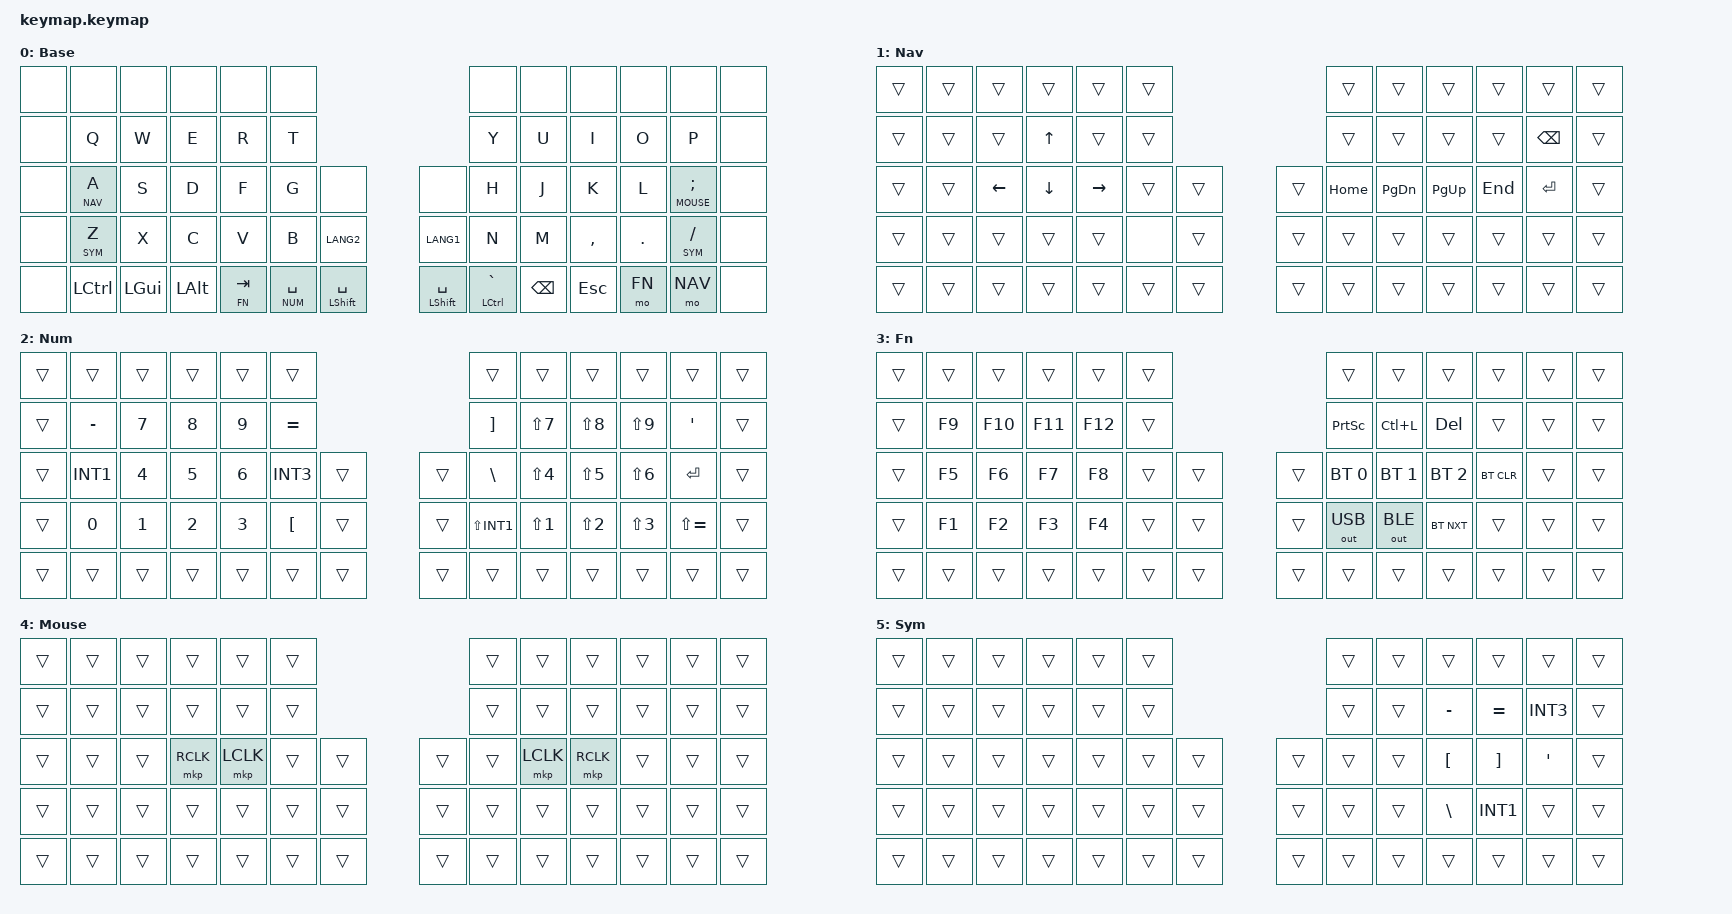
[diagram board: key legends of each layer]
/*
 * torabo-tsuki LP (S size) keymap - ported from Keychron B1 Pro JIS (Launcher export 22-17-51)
 *
 * - The firmware's default physical layout is "L" (66 positions), so bindings are written
 *   in L order. Positions that do not exist on S are &none / &trans.
 *   S keys used:  row1: 13-17 | 18-22   row2: 25-29 | 32-36
 *                 row3: 39-43 44 | 45 46-50   row4: 53 54 55 [56 57 58] | [59 60 61] 62 63 64
 * - The same HID codes as the B1 Pro are sent, so output on a JIS-configured PC is identical.
 * - Layer order (same numbers as B1 Pro): 0 base / 1 nav (B1 Fn1) / 2 numpad & B1 symbols (B1 Fn2)
 *                3 F-keys & BT (B1 Fn3) / 4 mouse (hold ;) / 5 JIS right-edge symbols (hold Z or /)
 *                6-7 reserved for ZMK Studio
 */

#include <behaviors.dtsi>
#include <dt-bindings/zmk/bt.h>
#include <dt-bindings/zmk/keys.h>
#include <dt-bindings/zmk/outputs.h>
#include <dt-bindings/zmk/pointing.h>

#define BASE 0
#define NAV 1
#define NUM 2
#define FN 3
#define MOUSE 4
#define SYM 5

/ {
    keymap {
        compatible = "zmk,keymap";

        // ---------------------------------------------------------------- 0: base
        layer_0 {
            display-name = "Base";
            bindings = <
&none      &none      &none     &none     &none     &none                                            &none    &none     &none      &none    &none    &none
&none      &kp Q      &kp W     &kp E     &kp R     &kp T                                            &kp Y    &kp U     &kp I      &kp O    &kp P    &none
&none      &lt NAV A  &kp S     &kp D     &kp F     &kp G     &none                &none             &kp H    &kp J     &kp K      &kp L    &lt MOUSE SEMI &none
&none      &lt SYM Z  &kp X     &kp C     &kp V     &kp B     &kp LANG2            &kp LANG1         &kp N    &kp M     &kp COMMA  &kp DOT  &lt SYM FSLH &none
&none      &kp LCTRL  &kp LGUI  &kp LALT  &lt FN TAB  &lt NUM SPACE  &mt LSHIFT SPACE  &mt LSHIFT SPACE  &mt LCTRL GRAVE  &kp BSPC  &kp ESC   &mo FN   &mo NAV  &none
            >;
        };

        // ---------------------------------------------------------------- 1: nav (B1 Fn1 / hold A)
        layer_1 {
            display-name = "Nav";
            bindings = <
&trans  &trans  &trans     &trans       &trans      &trans                     &trans     &trans      &trans      &trans   &trans    &trans
&trans  &trans  &trans     &kp UP       &trans      &trans                     &trans     &trans      &trans      &trans   &kp BSPC  &trans
&trans  &trans  &kp LEFT   &kp DOWN     &kp RIGHT   &trans  &trans    &trans   &kp HOME   &kp PG_DN   &kp PG_UP   &kp END  &kp RET   &trans
&trans  &trans  &trans     &trans       &trans      &none   &trans    &trans   &trans     &trans      &trans      &trans   &trans    &trans
&trans  &trans  &trans     &trans       &trans      &trans  &trans    &trans   &trans     &trans      &trans      &trans   &trans    &trans
            >;
        };

        // ---------------------------------------------------------------- 2: numpad & B1 symbols (B1 Fn2 / hold left middle thumb)
        layer_2 {
            display-name = "Num";
            bindings = <
&trans  &trans     &trans  &trans  &trans  &trans                         &trans          &trans      &trans      &trans      &trans         &trans
&trans  &kp MINUS  &kp N7  &kp N8  &kp N9  &kp EQUAL                      &kp RBKT        &kp LS(N7)  &kp LS(N8)  &kp LS(N9)  &kp SQT        &trans
&trans  &kp INT1   &kp N4  &kp N5  &kp N6  &kp INT3   &trans    &trans    &kp BSLH        &kp LS(N4)  &kp LS(N5)  &kp LS(N6)  &kp RET        &trans
&trans  &kp N0     &kp N1  &kp N2  &kp N3  &kp LBKT   &trans    &trans    &kp LS(INT1)    &kp LS(N1)  &kp LS(N2)  &kp LS(N3)  &kp LS(EQUAL)  &trans
&trans  &trans     &trans  &trans  &trans  &trans     &trans    &trans    &trans          &trans      &trans      &trans      &trans         &trans
            >;
        };

        // ---------------------------------------------------------------- 3: F-keys & Bluetooth (B1 Fn3)
        layer_3 {
            display-name = "Fn";
            bindings = <
&trans  &trans   &trans   &trans   &trans   &trans                      &trans        &trans          &trans         &trans          &trans  &trans
&trans  &kp F9   &kp F10  &kp F11  &kp F12  &trans                      &kp PSCRN     &kp LC(L)       &kp DEL        &trans          &trans  &trans
&trans  &kp F5   &kp F6   &kp F7   &kp F8   &trans  &trans    &trans    &bt BT_SEL 0  &bt BT_SEL 1    &bt BT_SEL 2   &bt BT_CLR      &trans  &trans
&trans  &kp F1   &kp F2   &kp F3   &kp F4   &trans  &trans    &trans    &out OUT_USB  &out OUT_BLE    &bt BT_NXT     &trans          &trans  &trans
&trans  &trans   &trans   &trans   &trans   &trans  &trans    &trans    &trans        &trans          &trans         &trans          &trans  &trans
            >;
        };

        // ---------------------------------------------------------------- 4: mouse (hold ;)
        layer_4 {
            display-name = "Mouse";
            bindings = <
&trans  &trans  &trans  &trans     &trans     &trans                  &trans  &trans     &trans     &trans  &trans  &trans
&trans  &trans  &trans  &trans     &trans     &trans                  &trans  &trans     &trans     &trans  &trans  &trans
&trans  &trans  &trans  &mkp RCLK  &mkp LCLK  &trans  &trans  &trans  &trans  &mkp LCLK  &mkp RCLK  &trans  &trans  &trans
&trans  &trans  &trans  &trans     &trans     &trans  &trans  &trans  &trans  &trans     &trans     &trans  &trans  &trans
&trans  &trans  &trans  &trans     &trans     &trans  &trans  &trans  &trans  &trans     &trans     &trans  &trans  &trans
            >;
        };

        // ---------------------------------------------------------------- 5: JIS right-edge symbols (hold Z or /), Shift works as on a normal JIS keyboard
        layer_5 {
            display-name = "Sym";
            bindings = <
&trans  &trans  &trans  &trans  &trans  &trans                      &trans  &trans  &trans     &trans     &trans    &trans
&trans  &trans  &trans  &trans  &trans  &trans                      &trans  &trans  &kp MINUS  &kp EQUAL  &kp INT3  &trans
&trans  &trans  &trans  &trans  &trans  &trans  &trans    &trans    &trans  &trans  &kp LBKT   &kp RBKT   &kp SQT   &trans
&trans  &trans  &trans  &trans  &trans  &trans  &trans    &trans    &trans  &trans  &kp BSLH   &kp INT1   &trans    &trans
&trans  &trans  &trans  &trans  &trans  &trans  &trans    &trans    &trans  &trans  &trans     &trans     &trans    &trans
            >;
        };

        // ---------------------------------------------------------------- 6-7: free slots for ZMK Studio "Add Layer"
        layer_6 { status = "reserved"; };
        layer_7 { status = "reserved"; };
    };
};
